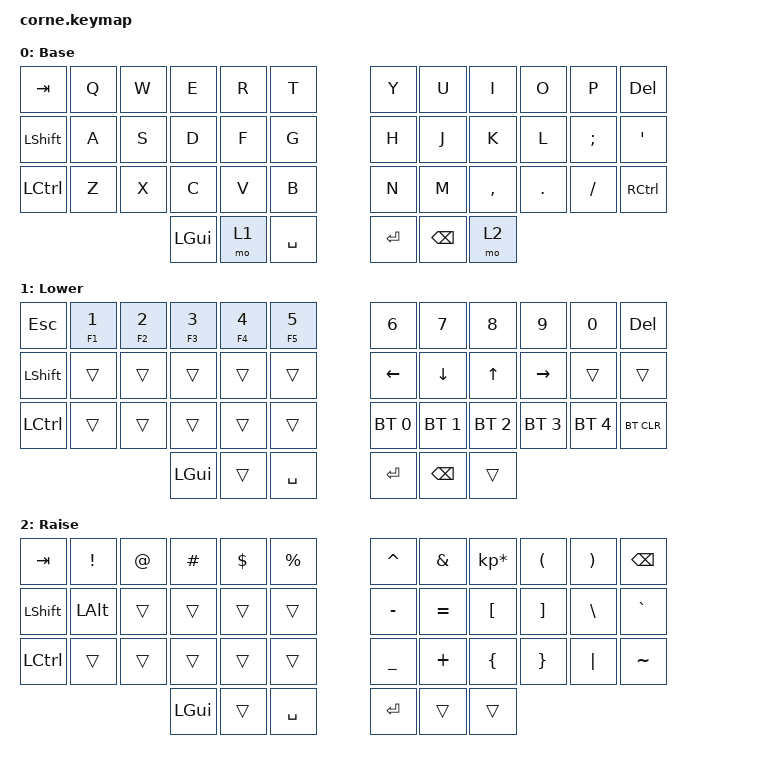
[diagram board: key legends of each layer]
/*
 * Copyright (c) 2020 The ZMK Contributors
 *
 * SPDX-License-Identifier: MIT
 */

#include <behaviors.dtsi>
#include <dt-bindings/zmk/bt.h>
#include <dt-bindings/zmk/keys.h>

/ {
    keymap {
        compatible = "zmk,keymap";

        default_layer {
            // -----------------------------------------------------------------------------------------
            // |  TAB |  Q  |  W  |  E  |  R  |  T  |   |  Y  |  U   |  I  |  O  |  P  | BKSP |
            // | CTRL |  A  |  S  |  D  |  F  |  G  |   |  H  |  J   |  K  |  L  |  ;  |  '   |
            // | SHFT |  Z  |  X  |  C  |  V  |  B  |   |  N  |  M   |  ,  |  .  |  /  | ESC  |
            //                    | GUI | LWR | SPC |   | ENT | RSE  | ALT |

            display-name = "Base";
            bindings = <
&kp TAB           &kp Q  &kp W  &kp E     &kp R  &kp T        &kp Y    &kp U          &kp I      &kp O    &kp P     &kp DEL
&kp LEFT_SHIFT    &kp A  &kp S  &kp D     &kp F  &kp G        &kp H    &kp J          &kp K      &kp L    &kp SEMI  &kp SQT
&kp LEFT_CONTROL  &kp Z  &kp X  &kp C     &kp V  &kp B        &kp N    &kp M          &kp COMMA  &kp DOT  &kp FSLH  &kp RCTRL
                                &kp LGUI  &mo 1  &kp SPACE    &kp RET  &kp BACKSPACE  &mo 2
            >;
        };

        lower_layer {
            // -----------------------------------------------------------------------------------------
            // |  TAB |  1  |  2  |  3  |  4  |  5  |   |  6  |  7  |  8  |  9  |  0  | BKSP |
            // | BTCLR| BT1 | BT2 | BT3 | BT4 | BT5 |   | LFT | DWN |  UP | RGT |     |      |
            // | SHFT |     |     |     |     |     |   |     |     |     |     |     |      |
            //                    | GUI |     | SPC |   | ENT |     | ALT |

            display-name = "Lower";
            bindings = <
&kp ESC           &mt F1 N1  &mt F2 N2  &mt F3 N3  &mt F4 N4  &mt F5 N5    &kp N6        &kp N7         &kp N8        &kp N9        &kp N0        &kp DEL
&kp LEFT_SHIFT    &trans     &trans     &trans     &trans     &trans       &kp LEFT      &kp DOWN       &kp UP        &kp RIGHT     &trans        &trans
&kp LEFT_CONTROL  &trans     &trans     &trans     &trans     &trans       &bt BT_SEL 0  &bt BT_SEL 1   &bt BT_SEL 2  &bt BT_SEL 3  &bt BT_SEL 4  &bt BT_CLR
                                        &kp LGUI   &trans     &kp SPACE    &kp RET       &kp BACKSPACE  &trans
            >;
        };

        raise_layer {
            // -----------------------------------------------------------------------------------------
            // |  TAB |  !  |  @  |  #  |  $  |  %  |   |  ^  |  &  |  *  |  (  |  )  | BKSP |
            // | CTRL |     |     |     |     |     |   |  -  |  =  |  [  |  ]  |  \  |  `   |
            // | SHFT |     |     |     |     |     |   |  _  |  +  |  {  |  }  | "|" |  ~   |
            //                    | GUI |     | SPC |   | ENT |     | ALT |

            display-name = "Raise";
            bindings = <
&kp TAB         &kp EXCL      &kp AT  &kp HASH  &kp DLLR  &kp PRCNT    &kp CARET  &kp AMPS   &kp KP_MULTIPLY  &kp LPAR  &kp RPAR  &kp BSPC
&kp LEFT_SHIFT  &kp LEFT_ALT  &trans  &trans    &trans    &trans       &kp MINUS  &kp EQUAL  &kp LBKT         &kp RBKT  &kp BSLH  &kp GRAVE
&kp LCTRL       &trans        &trans  &trans    &trans    &trans       &kp UNDER  &kp PLUS   &kp LBRC         &kp RBRC  &kp PIPE  &kp TILDE
                                      &kp LGUI  &trans    &kp SPACE    &kp RET    &trans     &trans
            >;
        };
    };
};
